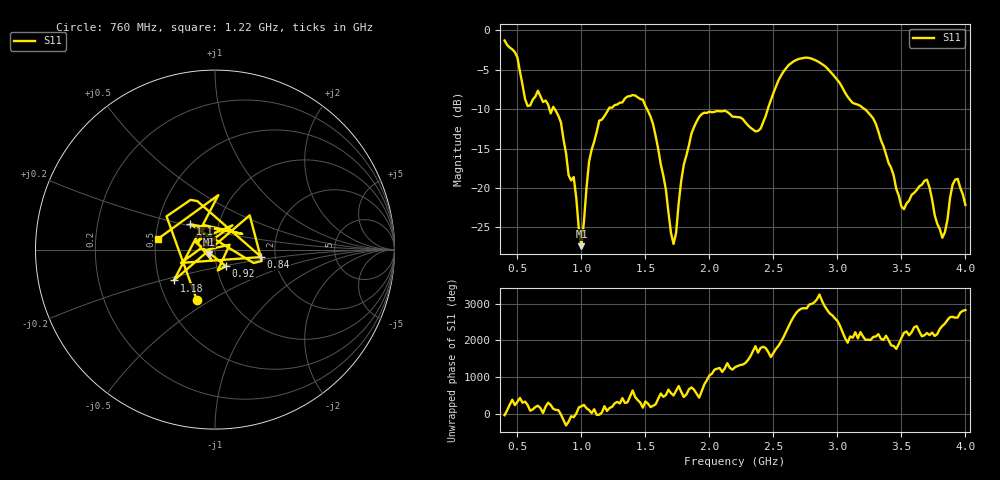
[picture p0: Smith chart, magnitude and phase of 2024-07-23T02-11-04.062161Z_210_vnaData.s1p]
!Created with skrf (http://scikit-rf.org).
# Hz S RI R 50.0
!freq ReS11 ImS11
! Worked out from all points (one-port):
!   181 points, 400 MHz to 4 GHz, reference 50 ohm
!   lowest |S11| = -27.4 dB at 1 GHz (marker M1), VSWR 1.09, Z = 46.5 - j2.26 ohm
!   |S11| at or under -10 dB: 791.9 MHz to 1.212 GHz (420.2 MHz wide, 41.9 % of centre); 1.513 GHz to 2.456 GHz (942.5 MHz wide, 47.5 % of centre); 3.215 GHz to end of sweep (the widest 3 of 4)
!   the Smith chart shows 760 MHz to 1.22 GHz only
!   S11 on the Smith chart (normalised r, x): 760 MHz: 0.71, -0.43; 840 MHz: 1.69, -0.15; 920 MHz: 1.11, -0.21; 1.1 GHz: 0.73, +0.21; 1.18 GHz: 0.60, -0.22; 1.22 GHz: 0.51, +0.07
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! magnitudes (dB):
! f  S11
! 400 MHz  -1.3
! 580 MHz  -9.6
! 760 MHz  -10.5
! 840 MHz  -11.7
! 860 MHz  -13.8
! 920 MHz  -19.0
! 940 MHz  -18.6
! 1 GHz  -27.4
! 1.06 GHz  -16.6
! 1.1 GHz  -14.1
! 1.18 GHz  -10.9
! 1.22 GHz  -9.8
! 1.3 GHz  -9.2
! 1.54 GHz  -10.9
! 1.72 GHz  -27.1
! 1.76 GHz  -21.9
! 1.92 GHz  -11.0
! 2.2 GHz  -11.0
! 2.4 GHz  -12.5
! 2.66 GHz  -3.9
! 3.1 GHz  -8.8
! 3.28 GHz  -11.2
! 3.5 GHz  -22.3
! 3.56 GHz  -21.6
! 3.7 GHz  -18.9
! 3.82 GHz  -26.3
! 3.92 GHz  -18.9
! 4 GHz  -22.1
